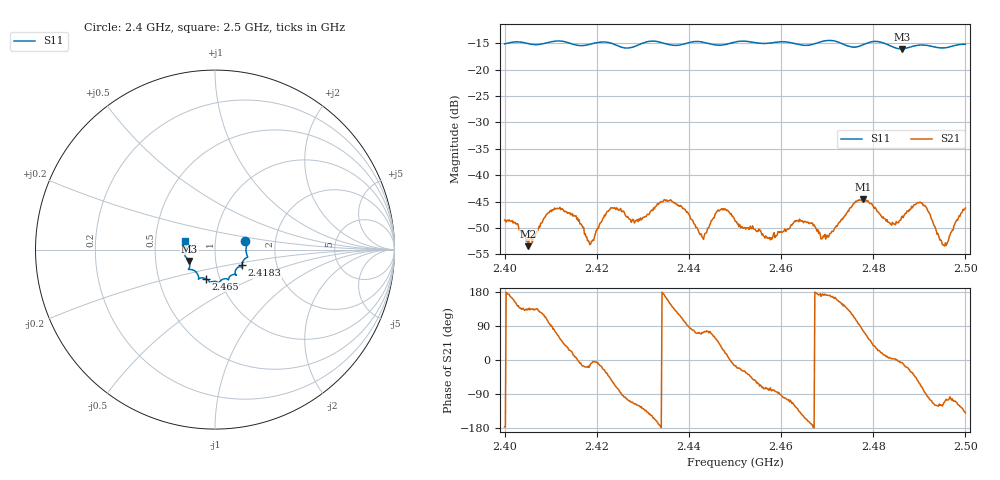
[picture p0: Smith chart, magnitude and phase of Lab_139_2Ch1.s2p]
# Hz S RI R 50
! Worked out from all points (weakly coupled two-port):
!   601 points, 2.4 GHz to 2.5 GHz, reference 50 ohm
!   highest |S21| = -44.55 dB at 2.4778 GHz (marker M1); lowest = -53.5 dB at 2.4052 GHz (marker M2)
!   lowest |S11| = -16.1 dB at 2.4862 GHz (marker M3), VSWR 1.37, Z = 37.1 - j4.8 ohm
!   |S11| at or under -10 dB: start of sweep to end of sweep
!   S12 and S22 are empty: the file has one direction only
!   S11 on the Smith chart (normalised r, x): 2.4 GHz: 1.40, +0.13; 2.4183 GHz: 1.33, -0.24; 2.465 GHz: 0.86, -0.29; 2.5 GHz: 0.71, +0.07
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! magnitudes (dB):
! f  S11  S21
! 2.4 GHz  -15.1  -48.5
! 2.4052 GHz  -15.1  -53.5
! 2.4108 GHz  -14.6  -46.2
! 2.4167 GHz  -15.5  -49.3
! 2.4183 GHz  -15.2  -52.7
! 2.4232 GHz  -15.0  -46.2
! 2.4285 GHz  -15.5  -48.6
! 2.4333 GHz  -14.7  -45.6
! 2.4387 GHz  -15.2  -46.3
! 2.4428 GHz  -14.8  -51.7
! 2.4467 GHz  -15.4  -46.7
! 2.45 GHz  -14.8  -48.7
! 2.4575 GHz  -15.0  -51.8
! 2.465 GHz  -15.4  -48.8
! 2.4667 GHz  -15.3  -49.2
! 2.4702 GHz  -14.5  -51.7
! 2.4778 GHz  -15.3  -44.5
! 2.4833 GHz  -15.3  -49.0
! 2.4862 GHz  -16.1  -47.9
! 2.4907 GHz  -15.3  -45.3
! 2.4955 GHz  -15.9  -53.4
! 2.5 GHz  -15.2  -46.3
